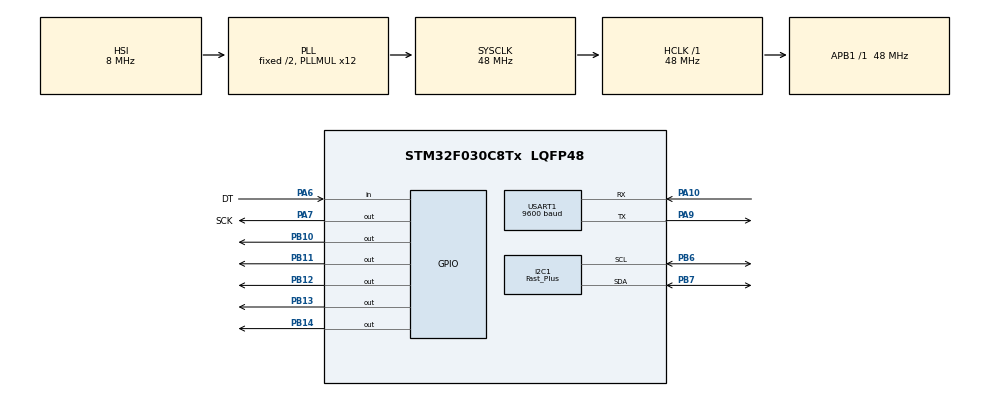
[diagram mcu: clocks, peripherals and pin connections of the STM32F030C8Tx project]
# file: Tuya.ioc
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Mcu.Family=STM32F0
PC15-OSC32_OUT.Mode=LSE-External-Oscillator
I2C1.Speed=0x3e8
I2C1.I2C_Speed_Mode=I2C_Fast_Plus
PA10.Mode=Asynchronous
PB10.GPIO_Speed=GPIO_SPEED_FREQ_HIGH
USART1.BaudRate=9600
TIM6.Prescaler=47
VP_TIM6_VS_ClockSourceINT.Mode=Enable_Timer
PA6.GPIO_Label=DT
PC14-OSC32_IN.Signal=RCC_OSC32_IN
PB11.Signal=GPIO_Output
PB13.Signal=GPIO_Output
RCC.SYSCLKSource=RCC_SYSCLKSOURCE_PLLCLK
ProjectManager.StackSize=0x400
PA6.GPIO_Mode=GPIO_MODE_INPUT
PB11.GPIO_Speed=GPIO_SPEED_FREQ_HIGH
USART1.VirtualMode-Asynchronous=VM_ASYNC
PA13.Signal=SYS_SWDIO
PA9.Mode=Asynchronous
PB14.PinState=GPIO_PIN_SET
ProjectManager.TargetToolchain=STM32CubeIDE
PB14.GPIO_Speed=GPIO_SPEED_FREQ_LOW
RCC.HCLKFreq_Value=48000000
PA9.Signal=USART1_TX
PB6.Signal=I2C1_SCL
I2C1.Timing=0x20000209
PB13.GPIO_Speed=GPIO_SPEED_FREQ_HIGH
PB13.GPIO_ModeDefaultOutputPP=GPIO_MODE_OUTPUT_PP
PB6.Mode=I2C
PC15-OSC32_OUT.Signal=RCC_OSC32_OUT
PB14.GPIO_ModeDefaultOutputPP=GPIO_MODE_OUTPUT_PP
PA7.GPIO_PuPd=GPIO_NOPULL
RCC.AHBFreq_Value=48000000
PB12.GPIO_Speed=GPIO_SPEED_FREQ_HIGH
PF0-OSC_IN.Mode=HSE-External-Oscillator
PB10.Signal=GPIO_Output
PB14.Signal=GPIO_Output
board=custom
RCC.Usart1ClockSelection=RCC_USART1CLKSOURCE_SYSCLK
RCC.PLLMUL=RCC_PLL_MUL12
PA7.GPIO_Speed=GPIO_SPEED_FREQ_MEDIUM
PC14-OSC32_IN.Mode=LSE-External-Oscillator
PA14.Mode=Serial_Wire
RCC.I2c1ClockSelection=RCC_I2C1CLKSOURCE_SYSCLK
PB7.Signal=I2C1_SDA
PA13.Mode=Serial_Wire
Mcu.Name=STM32F030C8Tx
RCC.SYSCLKFreq_VALUE=48000000
Mcu.Package=LQFP48
PA6.Signal=GPIO_Input
PB14.GPIO_PuPd=GPIO_NOPULL
PA7.GPIO_Label=SCK
PB7.Mode=I2C
PA10.Signal=USART1_RX
PA14.Signal=SYS_SWCLK
ProjectManager.HeapSize=0x200
RCC.APB1TimFreq_Value=48000000
PF0-OSC_IN.Signal=RCC_OSC_IN
NVIC.USART1_IRQn=true\:1\:0\:true\:false\:true\:true\:true
PF1-OSC_OUT.Mode=HSE-External-Oscillator
RCC.APB1Freq_Value=48000000
PB12.Signal=GPIO_Output
PF1-OSC_OUT.Signal=RCC_OSC_OUT
PA7.Signal=GPIO_Output

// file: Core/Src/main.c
/* USER CODE BEGIN Header */
/**
  ******************************************************************************
  * @file           : main.c
  * @brief          : Main program body
  ******************************************************************************
  * @attention
  *
  * <h2><center>&copy; Copyright (c) 2021 STMicroelectronics.
  * All rights reserved.</center></h2>
  *
  * This software component is licensed by ST under BSD 3-Clause license,
  * the "License"; You may not use this file except in compliance with the
  * License. You may obtain a copy of the License at:
  *                        opensource.org/licenses/BSD-3-Clause
  *
  ******************************************************************************
  */
/* USER CODE END Header */
#include "main.h"
#include "i2c.h"
#include "tim.h"
#include "usart.h"
#include "gpio.h"

/* USER CODE BEGIN Includes */
#include "sht30.h"
#include "stdio.h"
#include "oled.h"
#include "string.h"
#include "wifi.h"
#include "HX711.h"
/* USER CODE END Includes */

/* USER CODE BEGIN PTD */
unsigned char Light_Switch = 1;
/* USER CODE END PTD */

void SystemClock_Config(void);

int main(void)
{
  /* USER CODE BEGIN 1 */
	uint8_t recv_dat[6] = {0};
	float temperature = 0.0;
	float humidity = 0.0;
	char ch[50] = {0};
	char ch2[50]={0};
  //unsigned char Light_Switch = 0;
  /* USER CODE END 1 */

  /* MCU Configuration--------------------------------------------------------*/

  /* Reset of all peripherals, Initializes the Flash interface and the Systick. */
  HAL_Init();

  /* Configure the system clock */
  SystemClock_Config();

  /* Initialize all configured peripherals */
  MX_GPIO_Init();
  MX_I2C1_Init();
  MX_USART1_UART_Init();
  MX_TIM6_Init();
  /* USER CODE BEGIN 2 */
  wifi_protocol_init();
  __HAL_UART_ENABLE_IT(&huart1, UART_IT_RXNE);

	OLED_Init();
	OLED_Display_On();
	OLED_Clear();
  Weight_Init();

	SHT30_Reset();

	if(SHT30_Init() == HAL_OK){
	  OLED_ShowString(0, 0, "sht30 init ok", sizeof("sht30 init ok"));
	}else{
	  OLED_ShowString(0, 0, "sht30 init fail", sizeof("sht30 init fail"));
	}
	OLED_Clear();
	mcu_dp_bool_update(DPID_LIGHT,1);
  /* USER CODE END 2 */

  /* Infinite loop */
  while (1)
  {

    /* USER CODE BEGIN 3 */
	  wifi_uart_service();
	  if (SHT30_Read_Dat(recv_dat) == HAL_OK) {
	 	 if (SHT30_Dat_To_Float(recv_dat, &temperature, &humidity) == 0) {
	 		 sprintf(ch, "temperature = %d, humidity = %d,", (uint32_t) temperature, (uint32_t) humidity);
	 	 } else {
	 		 sprintf(ch, "crc check fail.");
	 	 }
	  } else {
	 	 sprintf(ch, "read data from sht30 fail.");
	  }
    HAL_Delay(20);
    SHT30_Update(temperature,humidity);
    HAL_Delay(100);
     Get_Weight();
     HAL_Delay(100);
     sprintf(ch2,"Weight = %3d(g)",(int)Weight);
     strcat(ch,ch2);
     //OLED_Clearrow(0);
     OLED_ShowString(0, 0, ch, strlen(ch));
     Weight_Handle();
     if(Light_Switch){
    	 HAL_GPIO_WritePin(GPIOB, GPIO_PIN_14, GPIO_PIN_RESET);
     }else{
    	 HAL_GPIO_WritePin(GPIOB, GPIO_PIN_14, GPIO_PIN_SET);
     }
     HAL_Delay(500);

  }
  /* USER CODE END 3 */
}

void SystemClock_Config(void)
{
  RCC_OscInitTypeDef RCC_OscInitStruct = {0};
  RCC_ClkInitTypeDef RCC_ClkInitStruct = {0};
  RCC_PeriphCLKInitTypeDef PeriphClkInit = {0};

  /** Initializes the RCC Oscillators according to the specified parameters
  * in the RCC_OscInitTypeDef structure.
  */
  RCC_OscInitStruct.OscillatorType = RCC_OSCILLATORTYPE_HSI;
  RCC_OscInitStruct.HSIState = RCC_HSI_ON;
  RCC_OscInitStruct.HSICalibrationValue = RCC_HSICALIBRATION_DEFAULT;
  RCC_OscInitStruct.PLL.PLLState = RCC_PLL_ON;
  RCC_OscInitStruct.PLL.PLLSource = RCC_PLLSOURCE_HSI;
  RCC_OscInitStruct.PLL.PLLMUL = RCC_PLL_MUL12;
  RCC_OscInitStruct.PLL.PREDIV = RCC_PREDIV_DIV1;
  if (HAL_RCC_OscConfig(&RCC_OscInitStruct) != HAL_OK)
  {
    Error_Handler();
  }
  /** Initializes the CPU, AHB and APB buses clocks
  */
  RCC_ClkInitStruct.ClockType = RCC_CLOCKTYPE_HCLK|RCC_CLOCKTYPE_SYSCLK
                              |RCC_CLOCKTYPE_PCLK1;
  RCC_ClkInitStruct.SYSCLKSource = RCC_SYSCLKSOURCE_PLLCLK;
  RCC_ClkInitStruct.AHBCLKDivider = RCC_SYSCLK_DIV1;
  RCC_ClkInitStruct.APB1CLKDivider = RCC_HCLK_DIV1;

  if (HAL_RCC_ClockConfig(&RCC_ClkInitStruct, FLASH_LATENCY_1) != HAL_OK)
  {
    Error_Handler();
  }
  PeriphClkInit.PeriphClockSelection = RCC_PERIPHCLK_USART1|RCC_PERIPHCLK_I2C1;
  PeriphClkInit.Usart1ClockSelection = RCC_USART1CLKSOURCE_SYSCLK;
  PeriphClkInit.I2c1ClockSelection = RCC_I2C1CLKSOURCE_SYSCLK;
  if (HAL_RCCEx_PeriphCLKConfig(&PeriphClkInit) != HAL_OK)
  {
    Error_Handler();
  }
}

void Error_Handler(void)
{
  __disable_irq();
  while (1)
  {
  }
}

/************************ (C) COPYRIGHT STMicroelectronics *****END OF FILE****/
